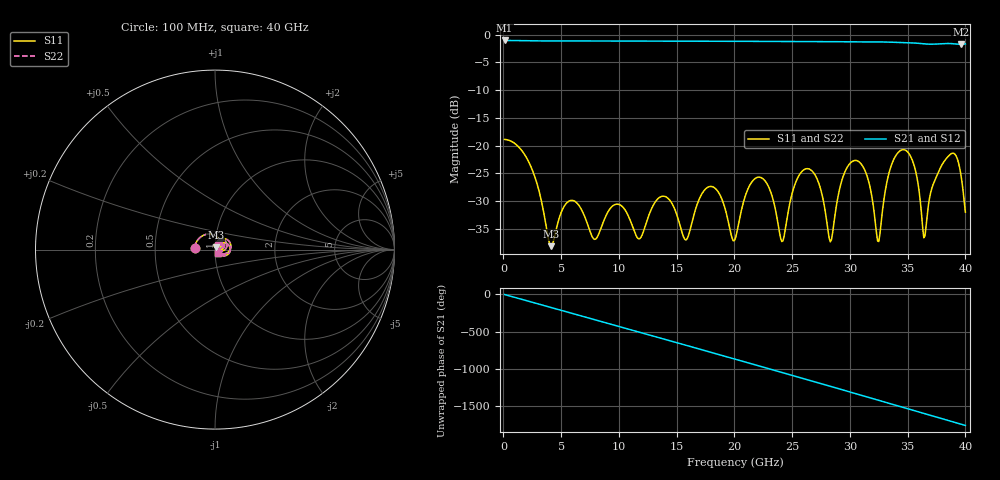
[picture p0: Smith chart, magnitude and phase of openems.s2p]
! T_vna6_cpwg_20: Coplanar waveguide with ground, LibreVNA RF class (w 0.35, gap 0.18 mm), 20 mm
! stackup: LibreVNA 6-layer (7628 / FR-4, from the board file)
! ports: 1 near A, 2 far A
! openEMS 0.37.0, staircase, fine mesh (dfine 0.0175 mm), 2361528 cells
# Hz S RI R 50
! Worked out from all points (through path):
!   400 points, 100 MHz to 40 GHz, reference 50 ohm
!   highest |S21| = -1.06 dB at 100 MHz (marker M1); lowest = -1.8 dB at 39.6 GHz (marker M2)
!   group delay of S21, straight-line fit = 122 ps
!   lowest |S11| = -38.1 dB at 4.1 GHz (marker M3), VSWR 1.03, Z = 50.4 + j1.2 ohm
!   |S11| at or under -10 dB: start of sweep to end of sweep
!   |S22| runs from -38.1 to -18.9 dB; largest |S21 - S12| = 0
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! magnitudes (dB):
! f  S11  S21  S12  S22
! 100 MHz  -18.9  -1.1  -1.1  -18.9
! 2.4 GHz  -23.9  -1.1  -1.1  -23.9
! 4.1 GHz  -38.1  -1.1  -1.1  -38.1
! 6.8 GHz  -31.7  -1.1  -1.1  -31.7
! 11.8 GHz  -36.7  -1.2  -1.2  -36.7
! 13.4 GHz  -29.5  -1.2  -1.2  -29.5
! 15.8 GHz  -37.0  -1.2  -1.2  -37.0
! 18.2 GHz  -27.5  -1.2  -1.2  -27.5
! 20.1 GHz  -36.6  -1.2  -1.2  -36.6
! 22.1 GHz  -25.7  -1.2  -1.2  -25.7
! 24.2 GHz  -37.1  -1.2  -1.2  -37.1
! 25.3 GHz  -26.6  -1.3  -1.3  -26.6
! 26.7 GHz  -24.5  -1.3  -1.3  -24.5
! 28.3 GHz  -37.3  -1.3  -1.3  -37.3
! 30.5 GHz  -22.6  -1.3  -1.3  -22.6
! 32.5 GHz  -37.2  -1.3  -1.3  -37.2
! 33.4 GHz  -24.8  -1.4  -1.4  -24.8
! 35.2 GHz  -21.7  -1.5  -1.5  -21.7
! 36.4 GHz  -36.6  -1.7  -1.7  -36.6
! 38 GHz  -23.3  -1.6  -1.6  -23.3
! 39.6 GHz  -25.1  -1.8  -1.8  -25.1
! 40 GHz  -32.0  -1.7  -1.7  -32.0
